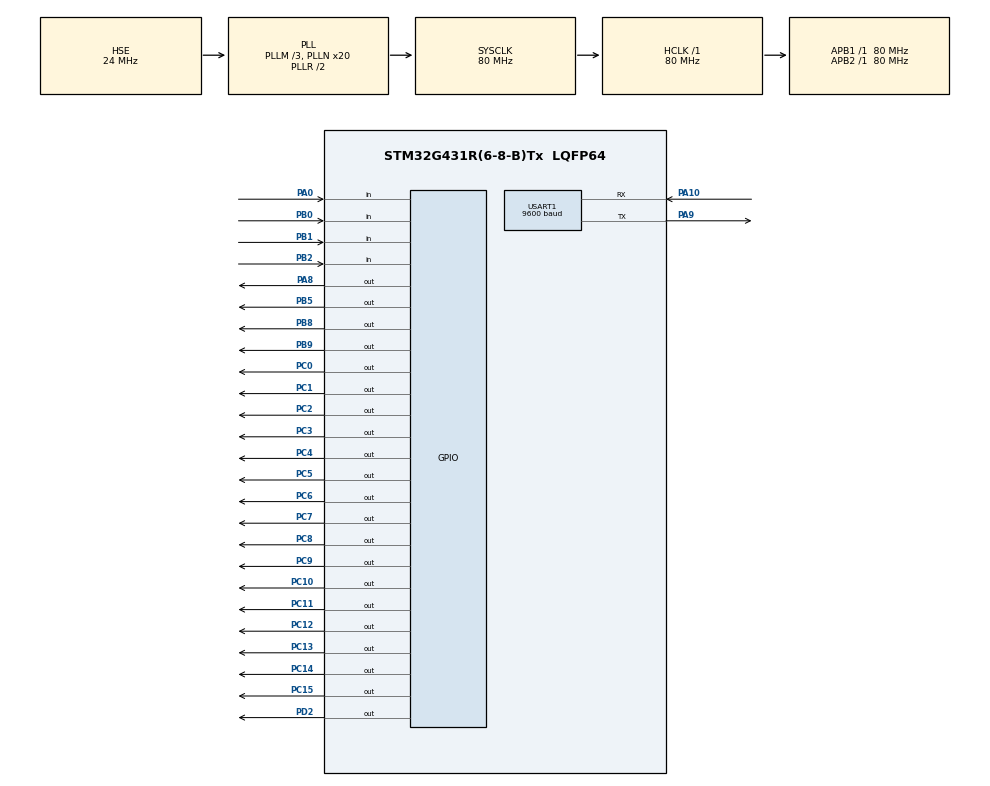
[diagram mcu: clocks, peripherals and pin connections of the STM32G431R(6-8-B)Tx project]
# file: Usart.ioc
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Mcu.Family=STM32G4
Mcu.Name=STM32G431R(6-8-B)Tx
Mcu.Package=LQFP64
NVIC.PriorityGroup=NVIC_PRIORITYGROUP_4
NVIC.USART1_IRQn=true\:0\:0\:false\:false\:true\:true\:true\:true
PA0.GPIO_PuPd=GPIO_PULLUP
PA0.Signal=GPIO_Input
PA10.Mode=Asynchronous
PA10.Signal=USART1_RX
PA8.Signal=GPIO_Output
PA9.Mode=Asynchronous
PA9.Signal=USART1_TX
PB0.GPIO_PuPd=GPIO_PULLUP
PB0.Signal=GPIO_Input
PB1.GPIO_PuPd=GPIO_PULLUP
PB1.Signal=GPIO_Input
PB2.GPIO_PuPd=GPIO_PULLUP
PB2.Signal=GPIO_Input
PB5.Signal=GPIO_Output
PB8-BOOT0.Signal=GPIO_Output
PB9.Signal=GPIO_Output
PC0.Signal=GPIO_Output
PC1.Signal=GPIO_Output
PC10.PinState=GPIO_PIN_SET
PC10.Signal=GPIO_Output
PC11.PinState=GPIO_PIN_SET
PC11.Signal=GPIO_Output
PC12.PinState=GPIO_PIN_SET
PC12.Signal=GPIO_Output
PC13.PinState=GPIO_PIN_SET
PC13.Signal=GPIO_Output
PC14-OSC32_IN.PinState=GPIO_PIN_SET
PC14-OSC32_IN.Signal=GPIO_Output
PC15-OSC32_OUT.PinState=GPIO_PIN_SET
PC15-OSC32_OUT.Signal=GPIO_Output
PC2.Signal=GPIO_Output
PC3.Signal=GPIO_Output
PC4.Signal=GPIO_Output
PC5.Signal=GPIO_Output
PC6.Signal=GPIO_Output
PC7.Signal=GPIO_Output
PC8.PinState=GPIO_PIN_SET
PC8.Signal=GPIO_Output
PC9.PinState=GPIO_PIN_SET
PC9.Signal=GPIO_Output
PD2.Signal=GPIO_Output
PF0-OSC_IN.Mode=HSE-External-Oscillator
PF0-OSC_IN.Signal=RCC_OSC_IN
PF1-OSC_OUT.Mode=HSE-External-Oscillator
PF1-OSC_OUT.Signal=RCC_OSC_OUT
ProjectManager.HeapSize=0x200
ProjectManager.StackSize=0x400
ProjectManager.TargetToolchain=MDK-ARM V5.32
RCC.ADC12Freq_Value=80000000
RCC.AHBFreq_Value=80000000
RCC.APB1Freq_Value=80000000
RCC.APB1TimFreq_Value=80000000
RCC.APB2Freq_Value=80000000
RCC.APB2TimFreq_Value=80000000
RCC.CortexFreq_Value=80000000
RCC.EXTERNAL_CLOCK_VALUE=12288000
RCC.HCLKFreq_Value=80000000
RCC.HSE_VALUE=24000000
RCC.HSI48_VALUE=48000000
RCC.HSI_VALUE=16000000
RCC.LSE_VALUE=32768
RCC.PLLM=RCC_PLLM_DIV3
RCC.PLLN=20
RCC.PLLSourceVirtual=RCC_PLLSOURCE_HSE
RCC.SYSCLKFreq_VALUE=80000000
RCC.SYSCLKSource=RCC_SYSCLKSOURCE_PLLCLK
RCC.USBFreq_Value=80000000
RCC.VCOOutputFreq_Value=160000000
USART1.BaudRate=9600
USART1.VirtualMode-Asynchronous=VM_ASYNC
VP_SYS_VS_DBSignals.Mode=DisableDeadBatterySignals
board=custom

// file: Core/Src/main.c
/* USER CODE BEGIN Header */
/**
  ******************************************************************************
  * @file           : main.c
  * @brief          : Main program body
  ******************************************************************************
  * @attention
  *
  * Copyright (c) 2024 STMicroelectronics.
  * All rights reserved.
  *
  * This software is licensed under terms that can be found in the LICENSE file
  * in the root directory of this software component.
  * If no LICENSE file comes with this software, it is provided AS-IS.
  *
  ******************************************************************************
  */
/* USER CODE END Header */
#include "main.h"
#include "usart.h"
#include "gpio.h"

/* USER CODE BEGIN Includes */

#include "key.h"
#include "lcd.h"
#include "led.h"
#include "myusart.h"
#include "stdio.h"
#include "string.h"

/* USER CODE END Includes */

/* USER CODE BEGIN PTD */

//减速函数变量
__IO uint32_t uwTick_Led = 0;//控制Led_Proc的执行速度
__IO uint32_t uwTick_Lcd = 0;//控制Lcd_Proc的执行速度
__IO uint32_t uwTick_Key = 0;//控制Key_Proc的执行速度
__IO uint32_t uwTick_Usart = 0;//控制Usart_Proc的执行速度

//key的专用变量
unsigned char keynum;
unsigned char key_down;
unsigned char key_old;
unsigned char key_up;

// lcd的专用变量

// led的专用变量
unsigned char dsp;

// myusart的专用变量

/* USER CODE END PTD */

void SystemClock_Config(void);

/* USER CODE BEGIN 0 */
void Led_Proc(void);
void Key_Proc(void);
void Lcd_proc(void);
void usart_rx_proc(void);

/* USER CODE END 0 */

int main(void)
{

  /* MCU Configuration--------------------------------------------------------*/

  /* Reset of all peripherals, Initializes the Flash interface and the Systick. */
  HAL_Init();

  /* Configure the system clock */
  SystemClock_Config();

  /* Initialize all configured peripherals */
  MX_GPIO_Init();
  MX_USART1_UART_Init();
  /* USER CODE BEGIN 2 */
  LCD_Init();
  led_disp(0x00);
  LCD_Clear(White);
  LCD_SetTextColor(Blue2);
  LCD_SetBackColor(White);

  HAL_UART_Receive_IT(&huart1,&rxdat,1);//初始化串口，每次只能接收一个字符
  /* USER CODE END 2 */

  /* Infinite loop */
  while (1)
  {

    /* USER CODE BEGIN 3 */
      Key_Proc();
      Led_Proc();
      //防止接收不完整
      if(rx_pointer!=0){
          int temp=rx_pointer;
          HAL_Delay(1);
          if(temp==rx_pointer)usart_rx_proc();
      }
  }
  /* USER CODE END 3 */
}

void SystemClock_Config(void)
{
  RCC_OscInitTypeDef RCC_OscInitStruct = {0};
  RCC_ClkInitTypeDef RCC_ClkInitStruct = {0};

  /** Configure the main internal regulator output voltage
  */
  HAL_PWREx_ControlVoltageScaling(PWR_REGULATOR_VOLTAGE_SCALE1);

  /** Initializes the RCC Oscillators according to the specified parameters
  * in the RCC_OscInitTypeDef structure.
  */
  RCC_OscInitStruct.OscillatorType = RCC_OSCILLATORTYPE_HSE;
  RCC_OscInitStruct.HSEState = RCC_HSE_ON;
  RCC_OscInitStruct.PLL.PLLState = RCC_PLL_ON;
  RCC_OscInitStruct.PLL.PLLSource = RCC_PLLSOURCE_HSE;
  RCC_OscInitStruct.PLL.PLLM = RCC_PLLM_DIV3;
  RCC_OscInitStruct.PLL.PLLN = 20;
  RCC_OscInitStruct.PLL.PLLP = RCC_PLLP_DIV2;
  RCC_OscInitStruct.PLL.PLLQ = RCC_PLLQ_DIV2;
  RCC_OscInitStruct.PLL.PLLR = RCC_PLLR_DIV2;
  if (HAL_RCC_OscConfig(&RCC_OscInitStruct) != HAL_OK)
  {
    Error_Handler();
  }

  /** Initializes the CPU, AHB and APB buses clocks
  */
  RCC_ClkInitStruct.ClockType = RCC_CLOCKTYPE_HCLK|RCC_CLOCKTYPE_SYSCLK
                              |RCC_CLOCKTYPE_PCLK1|RCC_CLOCKTYPE_PCLK2;
  RCC_ClkInitStruct.SYSCLKSource = RCC_SYSCLKSOURCE_PLLCLK;
  RCC_ClkInitStruct.AHBCLKDivider = RCC_SYSCLK_DIV1;
  RCC_ClkInitStruct.APB1CLKDivider = RCC_HCLK_DIV1;
  RCC_ClkInitStruct.APB2CLKDivider = RCC_HCLK_DIV1;

  if (HAL_RCC_ClockConfig(&RCC_ClkInitStruct, FLASH_LATENCY_2) != HAL_OK)
  {
    Error_Handler();
  }
}

/* USER CODE BEGIN 4 */

void Led_Proc(void)
{
    if((uwTick-uwTick_Led)<20)return;

    uwTick_Led=uwTick;
    led_disp(dsp);
}

void Key_Proc(void)
{
    if((uwTick-uwTick_Key)<50)return;

    uwTick_Key=uwTick;

    keynum=key_scan();
    key_down=keynum &(key_old^keynum);//ucKey_Old ^ ucKey_Val：相同为0，不同为1
    key_up=keynum &(key_old^keynum);
    key_old=keynum;

    if(key_down==1)
    {
        dsp=0x55;
    }
    if(key_down==2)
    {
      dsp=0xaa;
    }
    if(key_down==3)
    {
        dsp=0x00;
    }
    if(key_down==4)
    {
        Lcd_proc();
    }
}

void Lcd_proc(void)
{
  if((uwTick-uwTick_Lcd)<300)return;
    uwTick_Lcd=uwTick;

   //在屏幕显示Hello,world;

    LCD_DisplayStringLine(Line4,(unsigned char *)"Hello,world!");
}

//单片机通过串口发送消息到电脑上
//void usart_tx_proc(void)
//{
//
//}

//接收函数：单片机通过串口接收从电脑（里的串口助手输入数据）发送过来的数据
//并将接收到的数据重新发送到电脑上
void usart_rx_proc(void)
{
    if((uwTick-uwTick_Usart)<100)return;
    uwTick_Usart=uwTick;
    if(rx_pointer!=0){
    char str[30];
    sprintf(str,"%s \r\n",rxdata);
    HAL_UART_Transmit(&huart1,(unsigned char *)str,sizeof(str),50);    //将数据发送到电脑（串口助手）上
   // HAL_UART_Transmit(&huart1,(unsigned char *)rxdata,sizeof(rxdata),50);
    rx_pointer=0;
    memset(rxdata,0,30);
    memset(str,0,30);
    }
}

/* USER CODE END 4 */

void Error_Handler(void)
{
  __disable_irq();
  while (1)
  {
  }
}
